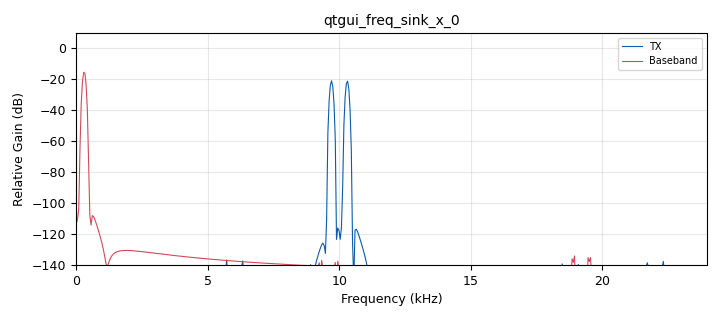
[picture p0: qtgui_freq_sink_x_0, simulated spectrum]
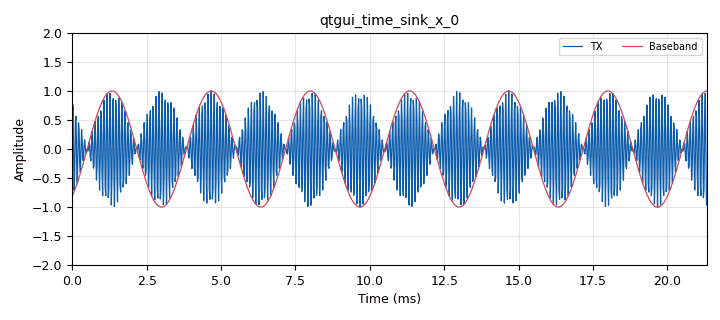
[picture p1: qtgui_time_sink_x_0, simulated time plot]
<?xml version='1.0' encoding='utf-8'?>
<?grc format='1' created='3.7.11'?>
<flow_graph>
<block>
<key>options</key>
<param><key>id</key><value>top_block</value></param>
<param><key>category</key><value>Custom</value></param>
<param><key>generate_options</key><value>qt_gui</value></param>
</block>
<block>
<key>variable_qtgui_check_box</key>
<param><key>id</key><value>carrier</value></param>
<param><key>value</key><value>0</value></param>
<param><key>false</key><value>0</value></param>
<param><key>label</key><value>TX Signal + Carrier</value></param>
<param><key>true</key><value>10</value></param>
<param><key>type</key><value>int</value></param>
</block>
<block>
<key>variable_qtgui_range</key>
<param><key>id</key><value>carrier_frq</value></param>
<param><key>value</key><value>10e3</value></param>
<param><key>orient</key><value>Qt.Horizontal</value></param>
<param><key>start</key><value>0</value></param>
<param><key>step</key><value>10</value></param>
<param><key>stop</key><value>samp_rate/2</value></param>
<param><key>widget</key><value>slider</value></param>
</block>
<block>
<key>variable</key>
<param><key>id</key><value>samp_rate</value></param>
<param><key>value</key><value>48000</value></param>
</block>
<block>
<key>variable_qtgui_range</key>
<param><key>id</key><value>signal_frq</value></param>
<param><key>value</key><value>300</value></param>
<param><key>orient</key><value>Qt.Horizontal</value></param>
<param><key>start</key><value>0</value></param>
<param><key>step</key><value>10</value></param>
<param><key>stop</key><value>3000</value></param>
<param><key>widget</key><value>slider</value></param>
</block>
<block>
<key>analog_sig_source_x</key>
<param><key>id</key><value>analog_sig_source_x_0_0_0</value></param>
<param><key>amp</key><value>1</value></param>
<param><key>freq</key><value>signal_frq</value></param>
<param><key>offset</key><value>0</value></param>
<param><key>type</key><value>float</value></param>
<param><key>samp_rate</key><value>samp_rate</value></param>
<param><key>waveform</key><value>analog.GR_COS_WAVE</value></param>
</block>
<block>
<key>analog_sig_source_x</key>
<param><key>id</key><value>analog_sig_source_x_1</value></param>
<param><key>amp</key><value>1</value></param>
<param><key>freq</key><value>carrier_frq</value></param>
<param><key>offset</key><value>0</value></param>
<param><key>type</key><value>float</value></param>
<param><key>samp_rate</key><value>samp_rate</value></param>
<param><key>waveform</key><value>analog.GR_COS_WAVE</value></param>
</block>
<block>
<key>audio_sink</key>
<param><key>id</key><value>audio_sink_0</value></param>
<param><key>samp_rate</key><value>samp_rate</value></param>
</block>
<block>
<key>blocks_add_xx</key>
<param><key>id</key><value>blocks_add_xx_0</value></param>
<param><key>type</key><value>float</value></param>
</block>
<block>
<key>blocks_multiply_const_vxx</key>
<param><key>id</key><value>blocks_multiply_const_vxx_0</value></param>
<param><key>const</key><value>carrier</value></param>
<param><key>type</key><value>float</value></param>
</block>
<block>
<key>blocks_multiply_xx</key>
<param><key>id</key><value>blocks_multiply_xx_0</value></param>
<param><key>type</key><value>float</value></param>
</block>
<block>
<key>blocks_throttle</key>
<param><key>id</key><value>blocks_throttle_0</value></param>
<param><key>samples_per_second</key><value>samp_rate</value></param>
<param><key>type</key><value>float</value></param>
</block>
<block>
<key>note</key>
<param><key>id</key><value>note_0</value></param>
<param><key>note</key><value>carrier also by adding signal offset</value></param>
</block>
<block>
<key>qtgui_freq_sink_x</key>
<param><key>id</key><value>qtgui_freq_sink_x_0</value></param>
<param><key>bw</key><value>samp_rate</value></param>
<param><key>fc</key><value>0</value></param>
<param><key>fftsize</key><value>1024</value></param>
<param><key>label1</key><value>TX</value></param>
<param><key>label2</key><value>Baseband</value></param>
<param><key>nconnections</key><value>2</value></param>
<param><key>showports</key><value>True</value></param>
<param><key>freqhalf</key><value>False</value></param>
<param><key>type</key><value>float</value></param>
<param><key>update_time</key><value>0.01</value></param>
<param><key>wintype</key><value>firdes.WIN_BLACKMAN_hARRIS</value></param>
</block>
<block>
<key>qtgui_time_sink_x</key>
<param><key>id</key><value>qtgui_time_sink_x_0</value></param>
<param><key>color1</key><value>"blue"</value></param>
<param><key>label1</key><value>TX</value></param>
<param><key>color2</key><value>"red"</value></param>
<param><key>label2</key><value>Baseband</value></param>
<param><key>nconnections</key><value>2</value></param>
<param><key>size</key><value>1024</value></param>
<param><key>srate</key><value>samp_rate</value></param>
<param><key>type</key><value>float</value></param>
<param><key>update_time</key><value>0.01</value></param>
<param><key>ymax</key><value>2</value></param>
<param><key>ymin</key><value>-2</value></param>
</block>
<connection><source_block_id>analog_sig_source_x_0_0_0</source_block_id><sink_block_id>audio_sink_0</sink_block_id><source_key>0</source_key><sink_key>0</sink_key></connection>
<connection><source_block_id>analog_sig_source_x_0_0_0</source_block_id><sink_block_id>blocks_multiply_xx_0</sink_block_id><source_key>0</source_key><sink_key>0</sink_key></connection>
<connection><source_block_id>analog_sig_source_x_0_0_0</source_block_id><sink_block_id>qtgui_freq_sink_x_0</sink_block_id><source_key>0</source_key><sink_key>1</sink_key></connection>
<connection><source_block_id>analog_sig_source_x_0_0_0</source_block_id><sink_block_id>qtgui_time_sink_x_0</sink_block_id><source_key>0</source_key><sink_key>1</sink_key></connection>
<connection><source_block_id>analog_sig_source_x_1</source_block_id><sink_block_id>blocks_multiply_const_vxx_0</sink_block_id><source_key>0</source_key><sink_key>0</sink_key></connection>
<connection><source_block_id>analog_sig_source_x_1</source_block_id><sink_block_id>blocks_multiply_xx_0</sink_block_id><source_key>0</source_key><sink_key>1</sink_key></connection>
<connection><source_block_id>blocks_add_xx_0</source_block_id><sink_block_id>blocks_throttle_0</sink_block_id><source_key>0</source_key><sink_key>0</sink_key></connection>
<connection><source_block_id>blocks_multiply_const_vxx_0</source_block_id><sink_block_id>blocks_add_xx_0</sink_block_id><source_key>0</source_key><sink_key>1</sink_key></connection>
<connection><source_block_id>blocks_multiply_xx_0</source_block_id><sink_block_id>blocks_add_xx_0</sink_block_id><source_key>0</source_key><sink_key>0</sink_key></connection>
<connection><source_block_id>blocks_throttle_0</source_block_id><sink_block_id>qtgui_freq_sink_x_0</sink_block_id><source_key>0</source_key><sink_key>0</sink_key></connection>
<connection><source_block_id>blocks_throttle_0</source_block_id><sink_block_id>qtgui_time_sink_x_0</sink_block_id><source_key>0</source_key><sink_key>0</sink_key></connection>
</flow_graph>
